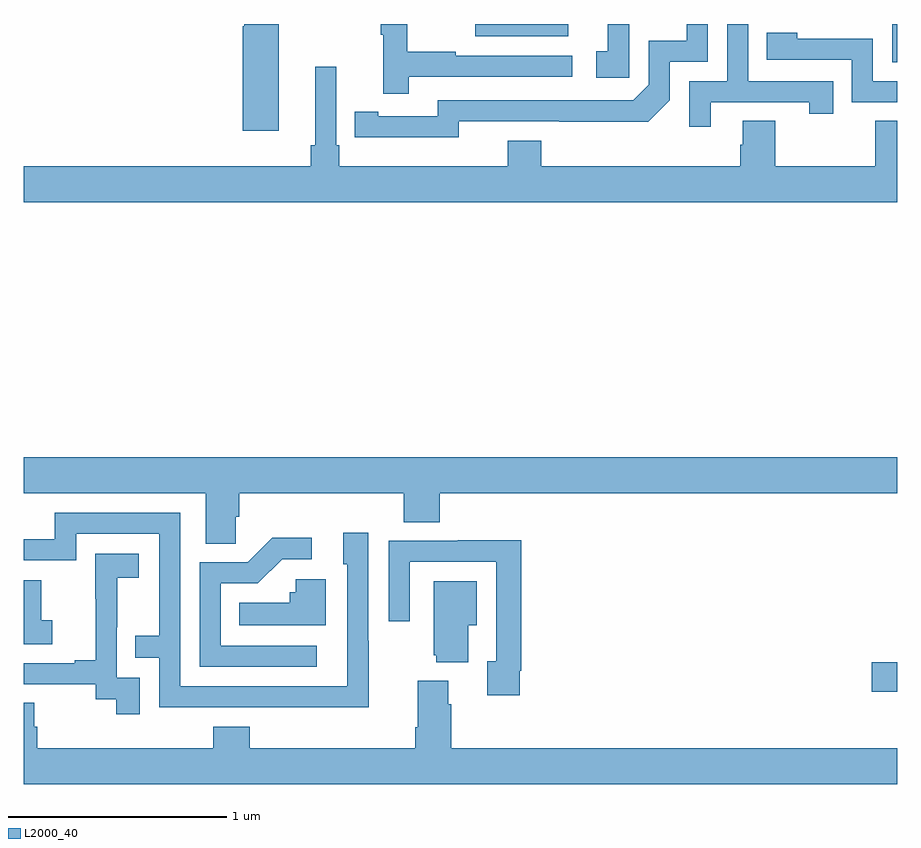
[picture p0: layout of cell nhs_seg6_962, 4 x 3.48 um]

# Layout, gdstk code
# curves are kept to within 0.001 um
import gdstk
lib = gdstk.Library(unit=1e-6, precision=1e-09)
def R(c, l, rs):  # rectangles x0, y0, x1, y1
    for r in rs: c.add(gdstk.rectangle(r[:2], r[2:], *l))
def P(c, l, *ps):  # polygons
    for p in ps: c.add(gdstk.Polygon(p, *l))
L2000_40 = (2000, 40)

nhs_seg6_962 = lib.new_cell('nhs_seg6_962')
R(nhs_seg6_962, L2000_40, [(174.882,930.443,175,930.578), (174.978,933.324,175,933.5), (173.067,933.443,173.494,933.5)])
P(nhs_seg6_962, L2000_40, [(172.763,933.258),(173.512,933.258),(173.512,933.354),(172.979,933.354),(172.979,933.374),(172.756,933.374),(172.756,933.5),(172.635,933.5),(172.635,933.451),(172.646,933.451),(172.646,933.18),(172.763,933.18)],
  [(172.992,933.054),(173.86,933.053),(173.958,933.15),(173.958,933.327),(174.132,933.327),(174.132,933.5),(174.035,933.5),(174.035,933.423),(173.862,933.423),(173.862,933.222),(173.79,933.15),(172.896,933.15),(172.896,933.078),(172.624,933.078),(172.624,933.098),(172.516,933.098),(172.516,932.982),(172.992,932.981)],
  [(172.168,933.5),(172.01,933.5),(172.01,933.489),(172.004,933.489),(172.004,933.012),(172.168,933.012)],
  [(174.145,933.141),(174.596,933.141),(174.596,933.09),(174.707,933.09),(174.707,933.237),(174.318,933.237),(174.318,933.5),(174.222,933.5),(174.222,933.237),(174.048,933.237),(174.048,933.03),(174.145,933.03)],
  [(173.772,933.5),(173.675,933.5),(173.675,933.375),(173.622,933.375),(173.622,933.255),(173.772,933.255)],
  [(175,933.237),(174.888,933.237),(174.888,933.432),(174.543,933.432),(174.543,933.459),(174.403,933.459),(174.403,933.336),(174.792,933.336),(174.792,933.141),(175,933.141)],
  [(175,933.056),(174.898,933.056),(174.898,932.848),(174.441,932.848),(174.441,933.056),(174.293,933.056),(174.293,932.946),(174.281,932.946),(174.281,932.848),(173.369,932.848),(173.369,932.965),(173.216,932.965),(173.216,932.848),(172.445,932.848),(172.445,932.944),(172.431,932.944),(172.431,933.304),(172.334,933.304),(172.334,932.944),(172.315,932.944),(172.315,932.848),(171,932.848),(171,932.684),(175,932.684)],
  [(171.972,931.243),(171.986,931.243),(171.986,931.352),(172.739,931.352),(172.739,931.219),(172.904,931.219),(172.904,931.352),(175,931.352),(175,931.516),(171,931.516),(171,931.352),(171.833,931.352),(171.833,931.12),(171.972,931.12)],
  [(172.581,930.677),(172.578,930.677),(172.578,931.171),(172.463,931.171),(172.463,931.026),(172.482,931.026),(172.482,930.683),(172.481,930.683),(172.481,930.468),(171.717,930.468),(171.717,931.263),(171.143,931.263),(171.143,931.14),(171,931.14),(171,931.044),(171.24,931.044),(171.24,931.167),(171.621,931.167),(171.621,930.698),(171.511,930.698),(171.511,930.597),(171.621,930.597),(171.621,930.372),(172.117,930.372),(172.117,930.371),(172.581,930.371)],
  [(172.342,930.654),(171.903,930.654),(171.903,930.939),(172.072,930.939),(172.183,931.05),(172.318,931.05),(172.318,931.148),(172.139,931.148),(172.026,931.035),(171.807,931.035),(171.807,930.558),(172.342,930.558)],
  [(173.272,930.538),(173.279,930.538),(173.279,931.136),(172.987,931.136),(172.987,931.134),(172.671,931.134),(172.671,930.765),(172.767,930.765),(172.767,931.038),(173.163,931.038),(173.163,930.582),(173.123,930.582),(173.123,930.426),(173.272,930.426)],
  [(171.531,930.507),(171.426,930.507),(171.426,930.737),(171.428,930.737),(171.428,930.965),(171.526,930.965),(171.526,931.075),(171.328,931.075),(171.328,930.869),(171.329,930.869),(171.329,930.586),(171.233,930.586),(171.233,930.573),(171,930.573),(171,930.477),(171.33,930.477),(171.33,930.409),(171.423,930.409),(171.423,930.339),(171.531,930.339)],
  [(172.384,930.958),(172.245,930.958),(172.245,930.897),(172.219,930.897),(172.219,930.85),(171.988,930.85),(171.988,930.746),(172.384,930.746)],
  [(171.13,930.769),(171.081,930.769),(171.081,930.954),(171,930.954),(171,930.66),(171.13,930.66)],
  [(173.035,930.746),(173.074,930.746),(173.074,930.949),(172.877,930.949),(172.877,930.609),(172.889,930.609),(172.889,930.578),(173.035,930.578)],
  [(175,930.184),(172.958,930.184),(172.958,930.386),(172.945,930.386),(172.945,930.493),(172.805,930.493),(172.805,930.28),(172.793,930.28),(172.793,930.184),(172.034,930.184),(172.034,930.283),(171.869,930.283),(171.869,930.184),(171.062,930.184),(171.062,930.282),(171.049,930.282),(171.049,930.392),(171,930.392),(171,930.02),(175,930.02)])

lib.write_gds('nhs_seg6_962.gds')
